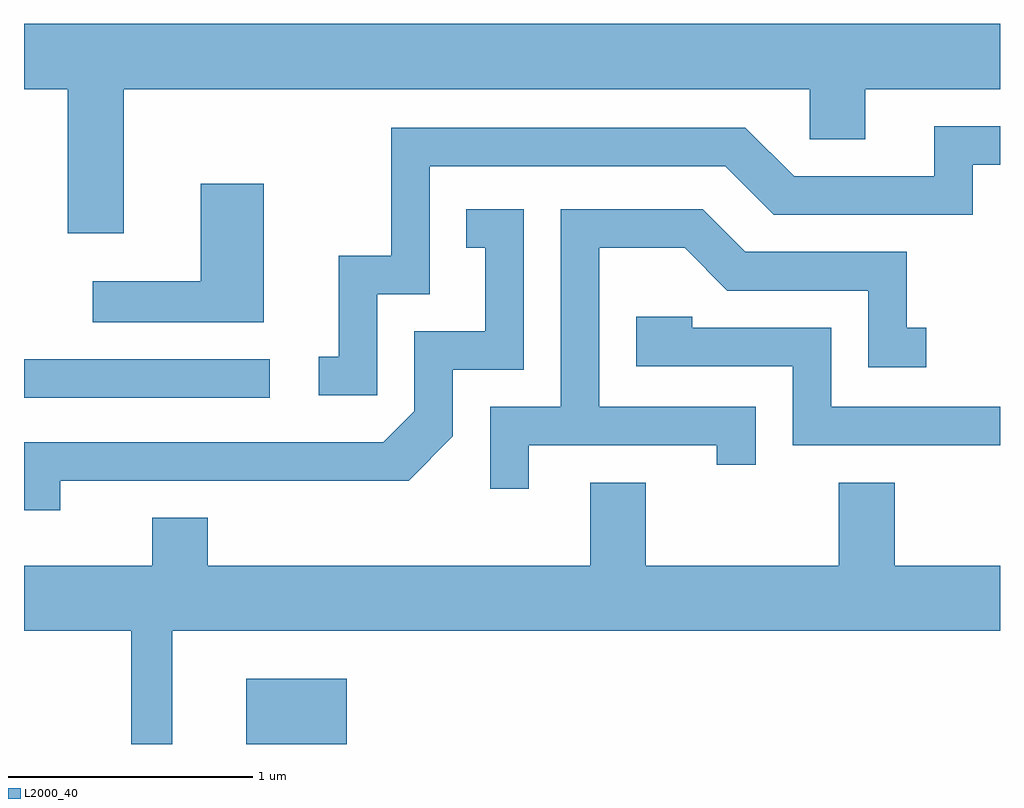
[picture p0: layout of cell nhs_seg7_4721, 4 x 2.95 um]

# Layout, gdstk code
import gdstk
lib = gdstk.Library(unit=1e-6, precision=1e-09)
def R(c, l, rs):  # rectangles x0, y0, x1, y1
    for r in rs: c.add(gdstk.rectangle(r[:2], r[2:], *l))
def P(c, l, *ps):  # polygons
    for p in ps: c.add(gdstk.Polygon(p, *l))
L2000_40 = (2000, 40)

nhs_seg7_4721 = lib.new_cell('nhs_seg7_4721')
R(nhs_seg7_4721, L2000_40, [(330.521,1758.252,330.934,1758.519), (329.611,1759.671,330.618,1759.829)])
P(nhs_seg7_4721, L2000_40, [(330.019,1760.936),(332.831,1760.936),(332.831,1760.731),(333.059,1760.731),(333.059,1760.936),(333.611,1760.936),(333.611,1761.204),(329.611,1761.204),(329.611,1760.936),(329.791,1760.936),(329.791,1760.346),(330.019,1760.346)],
  [(331.059,1760.096),(331.274,1760.096),(331.274,1760.621),(332.484,1760.621),(332.684,1760.421),(333.499,1760.421),(333.499,1760.626),(333.611,1760.626),(333.611,1760.784),(333.341,1760.784),(333.341,1760.579),(332.767,1760.579),(332.567,1760.779),(331.116,1760.779),(331.116,1760.254),(330.901,1760.254),(330.901,1759.839),(330.818,1759.839),(330.818,1759.681),(331.059,1759.681)],
  [(330.594,1760.549),(330.336,1760.549),(330.336,1760.149),(329.893,1760.149),(329.893,1759.981),(330.594,1759.981)],
  [(329.759,1759.331),(331.187,1759.331),(331.369,1759.514),(331.369,1759.786),(331.659,1759.786),(331.659,1760.444),(331.423,1760.444),(331.423,1760.286),(331.501,1760.286),(331.501,1759.944),(331.211,1759.944),(331.211,1759.617),(331.084,1759.489),(329.611,1759.489),(329.611,1759.211),(329.759,1759.211)],
  [(331.679,1759.476),(332.451,1759.476),(332.451,1759.398),(332.609,1759.398),(332.609,1759.634),(331.969,1759.634),(331.969,1760.286),(332.319,1760.286),(332.494,1760.111),(333.071,1760.111),(333.071,1759.796),(333.308,1759.796),(333.308,1759.959),(333.229,1759.959),(333.229,1760.269),(332.567,1760.269),(332.392,1760.444),(331.811,1760.444),(331.811,1759.634),(331.521,1759.634),(331.521,1759.298),(331.679,1759.298)],
  [(333.611,1759.634),(332.919,1759.634),(332.919,1759.959),(332.349,1759.959),(332.349,1760.004),(332.121,1760.004),(332.121,1759.801),(332.761,1759.801),(332.761,1759.476),(333.611,1759.476)],
  [(330.219,1758.716),(333.611,1758.716),(333.611,1758.984),(333.179,1758.984),(333.179,1759.324),(332.951,1759.324),(332.951,1758.984),(332.159,1758.984),(332.159,1759.324),(331.931,1759.324),(331.931,1758.984),(330.364,1758.984),(330.364,1759.179),(330.136,1759.179),(330.136,1758.984),(329.611,1758.984),(329.611,1758.716),(330.051,1758.716),(330.051,1758.252),(330.219,1758.252)])

lib.write_gds('nhs_seg7_4721.gds')
